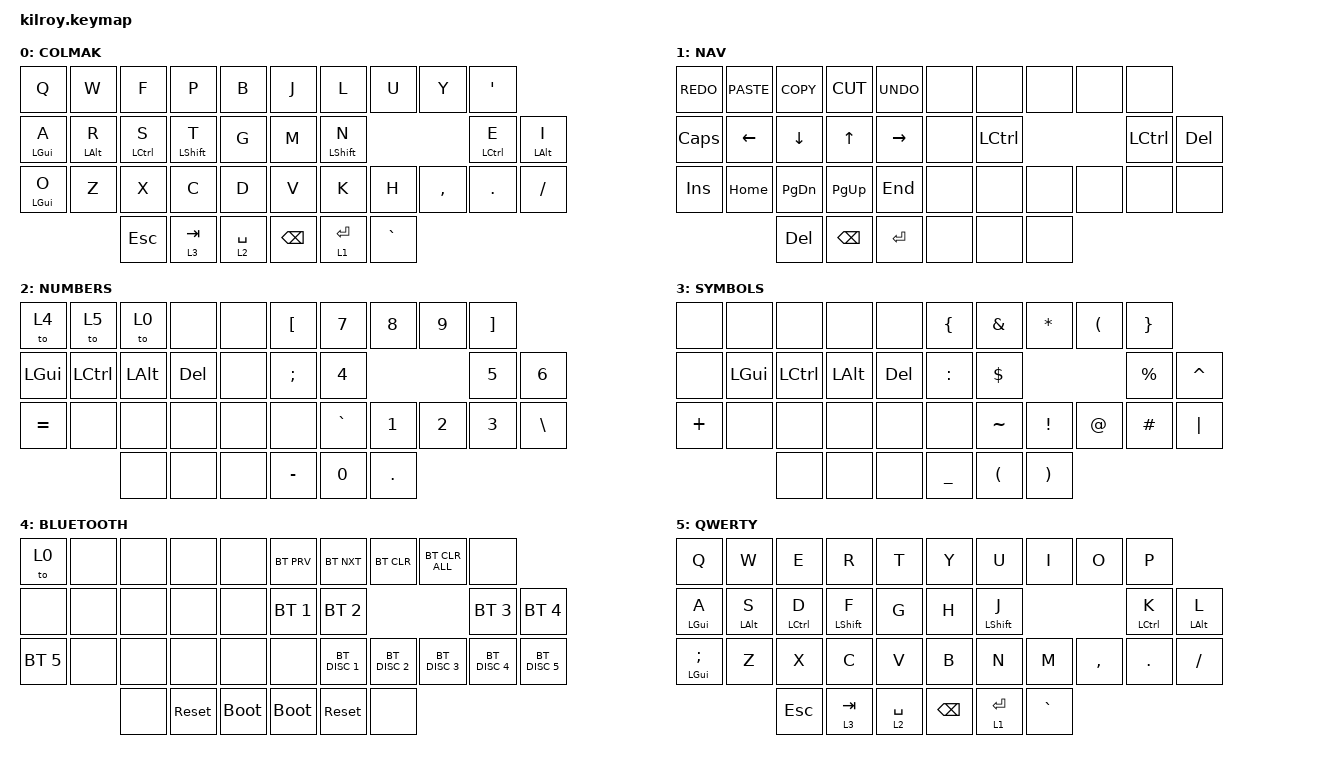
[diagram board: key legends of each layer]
#include <behaviors.dtsi>
#include <dt-bindings/zmk/keys.h>
#include <dt-bindings/zmk/bt.h>

#define HM_TAPPING_TERM 300
#define HM_TAPPING_TERM_FAST 200
#define HM_PRIOR_IDLE 150

/ {
    behaviors {
        tdlayer: tdlayer {
            compatible = "zmk,behavior-hold-tap";
            #binding-cells = <2>;
            label = "tdlayer";
            flavor = "tap-preferred";
            bindings = <&mo>, <&kp>;
            tapping-term-ms = <175>;
            quick-tap-ms = <100>;
        };

        //the below comes from https://github.com/infused-kim/zmk-config/blob/chocofi/main/config/includes/behaviours_homerow_mods.dtsi
        
        /*
         * Non-Positional Homerow Mods
         * Used for &mm_grescm_gui behavior on left hand.
         *
         * Usage: &hm LSHFT T
         * Tap: T
         * Tap-Tap-Hold: Repeat T
         * Hold: LSHIFT
         */
        hm: homerow_mods {
            compatible = "zmk,behavior-hold-tap";
            #binding-cells = <2>;
            bindings = <&kp>, <&kp>;

            flavor = "balanced";
            tapping-term-ms = <HM_TAPPING_TERM>;
            quick-tap-ms = <200>;
        };
    };

    keymap {
        compatible = "zmk,keymap";
        default_layer {
            display-name = "COLMAK";
            bindings = <
             &kp Q &kp W &kp F &kp P &kp B                                                                                          &kp J &kp L &kp U &kp Y &kp APOS
             &hm LGUI A &hm LALT R &hm LCTL S &hm LSHIFT T &kp G          &kp M &hm LSHIFT N &hm LCTL E &hm LALT I &hm LGUI O
             &kp Z &kp X &kp C &kp D &kp V                                &kp K &kp H &kp COMMA &kp DOT &kp FSLH
                         &kp ESC &tdlayer 3 TAB &tdlayer 2 SPACE          &kp BACKSPACE &tdlayer 1 RET &kp GRAVE
            >;
        };
        nav_layer {
            display-name = "NAV";
            bindings = <
       &kp K_REDO  &kp K_PASTE  &kp K_COPY  &kp K_CUT  &kp K_UNDO                                   &none  &none  &none  &none  &none   
       &kp CAPSLOCK  &kp LEFT  &kp DOWN  &kp UP  &kp RIGHT                                          &none  &kp LEFT_CONTROL  &kp LCTRL  &kp DELETE  
       &kp INSERT  &kp HOME  &kp PAGE_DOWN  &kp PAGE_UP  &kp END                                    &none  &none  &none  &none  &none  &none   
                            &kp DELETE  &kp BACKSPACE  &kp ENTER                                    &none  &none  &none  
            >;
        };

        numbers_layer {
            display-name = "NUMBERS";
            bindings = <
            &to 4  &to 5  &to 0  &none  &none                                                 &kp LBKT  &kp N7  &kp N8  &kp N9  &kp RBKT 
            &kp LEFT_GUI  &kp LEFT_CONTROL  &kp LEFT_ALT  &kp DELETE  &none                   &kp SEMI  &kp N4  &kp N5  &kp N6  &kp EQUAL 
            &none  &none  &none  &none  &none                                                 &kp GRAVE  &kp N1  &kp N2  &kp N3  &kp BSLH
                          &none  &none  &none                                                 &kp MINUS  &kp N0  &kp DOT  
            >;
        };

        symbol_layer {
            display-name = "SYMBOLS";
            bindings = <
             &none  &none  &none  &none  &none                                             &kp LEFT_BRACE  &kp AMPERSAND  &kp ASTERISK  &kp LEFT_PARENTHESIS  &kp RIGHT_BRACE  
             &none  &kp LGUI  &kp LCTRL  &kp LALT  &kp DELETE                              &kp COLON  &kp DOLLAR  &kp PERCENT  &kp CARET  &kp PLUS  
             &none  &none  &none  &none  &none                                             &kp TILDE  &kp EXCLAMATION  &kp AT_SIGN  &kp HASH  &kp PIPE  
                     &none  &none  &none                                                   &kp UNDERSCORE  &kp LEFT_PARENTHESIS  &kp RIGHT_PARENTHESIS 
            >;
        };

        bluetooth_layer {
            display-name = "BLUETOOTH";
            bindings = <
              &to 0  &none  &none  &none  &none                                    &bt BT_PRV  &bt BT_NXT  &bt BT_CLR  &bt BT_CLR_ALL  &none 
              &none  &none  &none  &none  &none                                   &bt BT_SEL 1  &bt BT_SEL 2  &bt BT_SEL 3  &bt BT_SEL 4  &bt BT_SEL 5 
              &none  &none  &none  &none  &none                                   &bt BT_DISC 1  &bt BT_DISC 2  &bt BT_DISC 3  &bt BT_DISC 4  &bt BT_DISC 5  
                                &none  &sys_reset  &bootloader                         &bootloader &sys_reset  &none 
                >;
        };

        qwerty_layer {
            display-name = "QWERTY";
            bindings = <
             &kp Q &kp W &kp E &kp R &kp T                                &kp Y &kp U &kp I &kp O &kp P
             &mt LGUI A &mt LALT S &mt LCTL D &mt LSHIFT F &kp G          &kp H &mt LSHIFT J &mt LCTL K &mt LALT L &mt LGUI SEMI
             &kp Z &kp X &kp C &kp V &kp B                                &kp N &kp M &kp COMMA &kp DOT &kp FSLH
                         &kp ESC &tdlayer 3 TAB &tdlayer 2 SPACE          &kp BACKSPACE &tdlayer 1 RET &kp GRAVE
            >;
        };

    };

};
